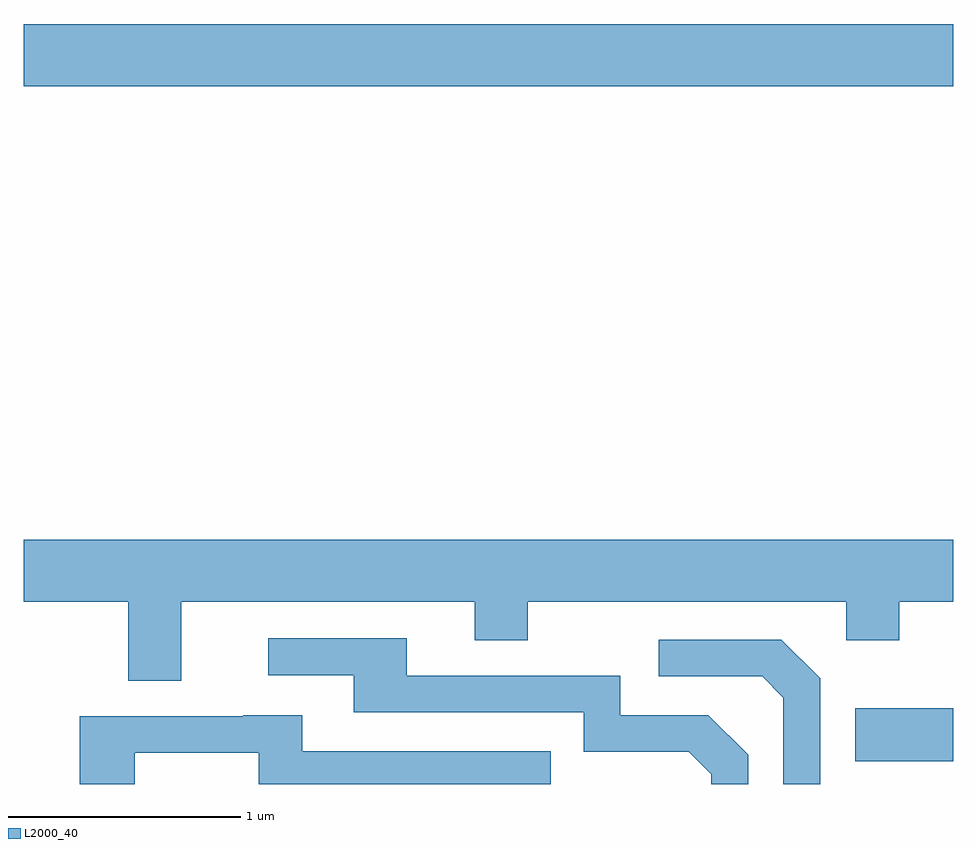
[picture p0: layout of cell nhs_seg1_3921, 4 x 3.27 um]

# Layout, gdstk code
import gdstk
lib = gdstk.Library(unit=1e-6, precision=1e-09)
def R(c, l, rs):  # rectangles x0, y0, x1, y1
    for r in rs: c.add(gdstk.rectangle(r[:2], r[2:], *l))
def P(c, l, *ps):  # polygons
    for p in ps: c.add(gdstk.Polygon(p, *l))
L2000_40 = (2000, 40)

nhs_seg1_3921 = lib.new_cell('nhs_seg1_3921')
R(nhs_seg1_3921, L2000_40, [(307.191,867.811,307.611,868.039), (303.611,870.716,307.611,870.984)])
P(nhs_seg1_3921, L2000_40, [(304.289,868.496),(305.551,868.496),(305.551,868.331),(305.779,868.331),(305.779,868.496),(307.151,868.496),(307.151,868.331),(307.379,868.331),(307.379,868.496),(307.611,868.496),(307.611,868.764),(303.611,868.764),(303.611,868.496),(304.061,868.496),(304.061,868.156),(304.289,868.156)],
  [(306.729,867.837),(306.557,868.009),(306.179,868.009),(306.179,868.179),(305.259,868.179),(305.259,868.339),(304.663,868.339),(304.663,868.181),(305.031,868.181),(305.031,868.021),(306.021,868.021),(306.021,867.851),(306.474,867.851),(306.571,867.754),(306.571,867.712),(306.729,867.712)],
  [(307.039,868.167),(306.872,868.334),(306.343,868.334),(306.343,868.176),(306.789,868.176),(306.881,868.084),(306.881,867.712),(307.039,867.712)],
  [(304.089,867.846),(304.621,867.846),(304.621,867.712),(305.878,867.712),(305.878,867.854),(304.809,867.854),(304.809,868.009),(304.555,868.009),(304.555,868.004),(303.851,868.004),(303.851,867.712),(304.089,867.712)])

lib.write_gds('nhs_seg1_3921.gds')
